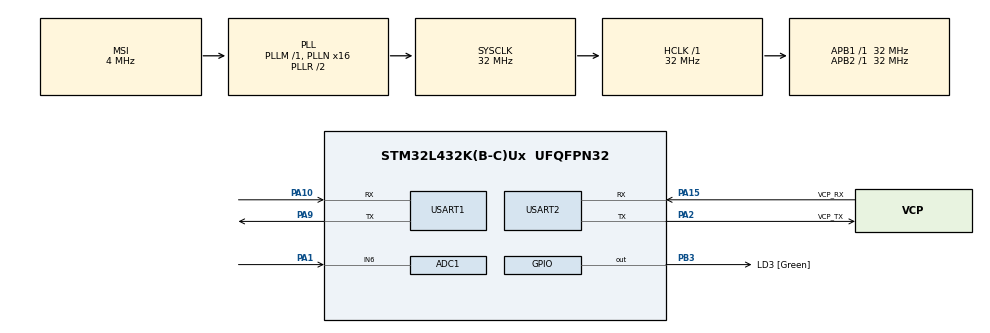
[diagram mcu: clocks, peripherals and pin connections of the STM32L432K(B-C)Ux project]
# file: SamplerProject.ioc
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ADC1.Channel-0\#ChannelRegularConversion=ADC_CHANNEL_6
ADC1.NbrOfConversionFlag=1
ADC1.OffsetNumber-0\#ChannelRegularConversion=ADC_OFFSET_NONE
ADC1.Rank-0\#ChannelRegularConversion=1
ADC1.Resolution=ADC_RESOLUTION_8B
ADC1.SamplingTime-0\#ChannelRegularConversion=ADC_SAMPLETIME_2CYCLES_5
ADC1.master=1
Mcu.Family=STM32L4
Mcu.Name=STM32L432K(B-C)Ux
Mcu.Package=UFQFPN32
NVIC.PriorityGroup=NVIC_PRIORITYGROUP_4
NVIC.TIM1_BRK_TIM15_IRQn=true\:0\:0\:false\:false\:true\:true\:true\:true
NVIC.TIM1_CC_IRQn=true\:0\:0\:false\:false\:true\:true\:true\:true
NVIC.TIM1_TRG_COM_IRQn=true\:0\:0\:false\:false\:true\:true\:true\:true
NVIC.TIM1_UP_TIM16_IRQn=true\:0\:0\:false\:false\:true\:true\:true\:true
NVIC.USART1_IRQn=true\:0\:0\:false\:false\:true\:true\:true\:true
PA0.GPIO_Label=MCO [High speed clock in]
PA0.Mode=HSE-External-Clock-Source-for-LittleOrca
PA0.Signal=RCC_CK_IN
PA1.Signal=ADCx_IN6
PA10.Mode=Asynchronous
PA10.Signal=USART1_RX
PA13\ (JTMS-SWDIO).GPIO_Label=SWDIO
PA13\ (JTMS-SWDIO).Mode=Serial_Wire
PA13\ (JTMS-SWDIO).Signal=SYS_JTMS-SWDIO
PA14\ (JTCK-SWCLK).GPIO_Label=SWCLK
PA14\ (JTCK-SWCLK).Mode=Serial_Wire
PA14\ (JTCK-SWCLK).Signal=SYS_JTCK-SWCLK
PA15\ (JTDI).GPIO_Label=VCP_RX
PA15\ (JTDI).Mode=Asynchronous
PA15\ (JTDI).Signal=USART2_RX
PA2.GPIO_Label=VCP_TX
PA2.Mode=Asynchronous
PA2.Signal=USART2_TX
PA9.Mode=Asynchronous
PA9.Signal=USART1_TX
PB3\ (JTDO-TRACESWO).GPIO_Label=LD3 [Green]
PB3\ (JTDO-TRACESWO).Signal=GPIO_Output
PC14-OSC32_IN\ (PC14).Mode=LSE-External-Oscillator
PC14-OSC32_IN\ (PC14).Signal=RCC_OSC32_IN
PC15-OSC32_OUT\ (PC15).Mode=LSE-External-Oscillator
PC15-OSC32_OUT\ (PC15).Signal=RCC_OSC32_OUT
ProjectManager.HeapSize=0x200
ProjectManager.StackSize=0x400
ProjectManager.TargetToolchain=STM32CubeIDE
RCC.ADCFreq_Value=32000000
RCC.AHBFreq_Value=32000000
RCC.APB1Freq_Value=32000000
RCC.APB1TimFreq_Value=32000000
RCC.APB2Freq_Value=32000000
RCC.APB2TimFreq_Value=32000000
RCC.CortexFreq_Value=32000000
RCC.HCLKFreq_Value=32000000
RCC.HSE_VALUE=8000000
RCC.HSI16_VALUE=16000000
RCC.HSI48_VALUE=48000000
RCC.HSI_VALUE=16000000
RCC.MSI_VALUE=4000000
RCC.PLLMUL=RCC_PLLMUL_4
RCC.PLLN=16
RCC.PLLSAI1N=16
RCC.SYSCLKFreq_VALUE=32000000
RCC.SYSCLKSource=RCC_SYSCLKSOURCE_PLLCLK
RCC.USBFreq_Value=32000000
RCC.VCOOutputFreq_Value=64000000
SH.ADCx_IN6.0=ADC1_IN6,IN6-Single-Ended
TIM1.Period=199
TIM1.Prescaler=63
USART1.VirtualMode-Asynchronous=VM_ASYNC
USART2.VirtualMode-Asynchronous=VM_ASYNC
VP_TIM1_VS_ClockSourceINT.Mode=Internal
board=NUCLEO-L432KC

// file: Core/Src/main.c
/* USER CODE BEGIN Header */
/**
  ******************************************************************************
  * @file           : main.c
  * @brief          : Main program body
  ******************************************************************************
  * @attention
  *
  * Copyright (c) 2025 STMicroelectronics.
  * All rights reserved.
  *
  * This software is licensed under terms that can be found in the LICENSE file
  * in the root directory of this software component.
  * If no LICENSE file comes with this software, it is provided AS-IS.
  *
  ******************************************************************************
  */
/* USER CODE END Header */
#include "main.h"

/* USER CODE BEGIN PD */
#define SAMPLE_RATE 5000
#define BUFFER_SIZE 1000
/* USER CODE END PD */

ADC_HandleTypeDef hadc1;

TIM_HandleTypeDef htim1;

UART_HandleTypeDef huart1;
UART_HandleTypeDef huart2;

/* USER CODE BEGIN PV */
uint8_t Buffer[BUFFER_SIZE];
uint16_t BuffIdx = 0;
/* USER CODE END PV */

void SystemClock_Config(void);
static void MX_GPIO_Init(void);
static void MX_USART2_UART_Init(void);
static void MX_ADC1_Init(void);
static void MX_TIM1_Init(void);
static void MX_USART1_UART_Init(void);

int main(void)
{

  /* MCU Configuration--------------------------------------------------------*/

  /* Reset of all peripherals, Initializes the Flash interface and the Systick. */
  HAL_Init();

  /* Configure the system clock */
  SystemClock_Config();

  /* Initialize all configured peripherals */
  MX_GPIO_Init();
  MX_USART2_UART_Init();
  MX_ADC1_Init();
  MX_TIM1_Init();
  MX_USART1_UART_Init();
  /* USER CODE BEGIN 2 */
  // reset counter, enable IRQ
  __HAL_TIM_SET_COUNTER(&htim1, 0);
  HAL_TIM_Base_Start_IT(&htim1);
  /* USER CODE END 2 */

  /* Infinite loop */
  while (1)
  {

  }
}

void SystemClock_Config(void)
{
  RCC_OscInitTypeDef RCC_OscInitStruct = {0};
  RCC_ClkInitTypeDef RCC_ClkInitStruct = {0};

  /** Configure the main internal regulator output voltage
  */
  if (HAL_PWREx_ControlVoltageScaling(PWR_REGULATOR_VOLTAGE_SCALE1) != HAL_OK)
  {
    Error_Handler();
  }

  /** Configure LSE Drive Capability
  */
  HAL_PWR_EnableBkUpAccess();
  __HAL_RCC_LSEDRIVE_CONFIG(RCC_LSEDRIVE_LOW);

  /** Initializes the RCC Oscillators according to the specified parameters
  * in the RCC_OscInitTypeDef structure.
  */
  RCC_OscInitStruct.OscillatorType = RCC_OSCILLATORTYPE_LSE|RCC_OSCILLATORTYPE_MSI;
  RCC_OscInitStruct.LSEState = RCC_LSE_ON;
  RCC_OscInitStruct.MSIState = RCC_MSI_ON;
  RCC_OscInitStruct.MSICalibrationValue = 0;
  RCC_OscInitStruct.MSIClockRange = RCC_MSIRANGE_6;
  RCC_OscInitStruct.PLL.PLLState = RCC_PLL_ON;
  RCC_OscInitStruct.PLL.PLLSource = RCC_PLLSOURCE_MSI;
  RCC_OscInitStruct.PLL.PLLM = 1;
  RCC_OscInitStruct.PLL.PLLN = 16;
  RCC_OscInitStruct.PLL.PLLP = RCC_PLLP_DIV7;
  RCC_OscInitStruct.PLL.PLLQ = RCC_PLLQ_DIV2;
  RCC_OscInitStruct.PLL.PLLR = RCC_PLLR_DIV2;
  if (HAL_RCC_OscConfig(&RCC_OscInitStruct) != HAL_OK)
  {
    Error_Handler();
  }

  /** Initializes the CPU, AHB and APB buses clocks
  */
  RCC_ClkInitStruct.ClockType = RCC_CLOCKTYPE_HCLK|RCC_CLOCKTYPE_SYSCLK
                              |RCC_CLOCKTYPE_PCLK1|RCC_CLOCKTYPE_PCLK2;
  RCC_ClkInitStruct.SYSCLKSource = RCC_SYSCLKSOURCE_PLLCLK;
  RCC_ClkInitStruct.AHBCLKDivider = RCC_SYSCLK_DIV1;
  RCC_ClkInitStruct.APB1CLKDivider = RCC_HCLK_DIV1;
  RCC_ClkInitStruct.APB2CLKDivider = RCC_HCLK_DIV1;

  if (HAL_RCC_ClockConfig(&RCC_ClkInitStruct, FLASH_LATENCY_1) != HAL_OK)
  {
    Error_Handler();
  }

  /** Enable MSI Auto calibration
  */
  HAL_RCCEx_EnableMSIPLLMode();
}

static void MX_ADC1_Init(void)
{

  ADC_ChannelConfTypeDef sConfig = {0};

  /** Common config
  */
  hadc1.Instance = ADC1;
  hadc1.Init.ClockPrescaler = ADC_CLOCK_ASYNC_DIV1;
  hadc1.Init.Resolution = ADC_RESOLUTION_8B;
  hadc1.Init.DataAlign = ADC_DATAALIGN_RIGHT;
  hadc1.Init.ScanConvMode = ADC_SCAN_DISABLE;
  hadc1.Init.EOCSelection = ADC_EOC_SINGLE_CONV;
  hadc1.Init.LowPowerAutoWait = DISABLE;
  hadc1.Init.ContinuousConvMode = DISABLE;
  hadc1.Init.NbrOfConversion = 1;
  hadc1.Init.DiscontinuousConvMode = DISABLE;
  hadc1.Init.ExternalTrigConv = ADC_SOFTWARE_START;
  hadc1.Init.ExternalTrigConvEdge = ADC_EXTERNALTRIGCONVEDGE_NONE;
  hadc1.Init.DMAContinuousRequests = DISABLE;
  hadc1.Init.Overrun = ADC_OVR_DATA_PRESERVED;
  hadc1.Init.OversamplingMode = DISABLE;
  if (HAL_ADC_Init(&hadc1) != HAL_OK)
  {
    Error_Handler();
  }

  /** Configure Regular Channel
  */
  sConfig.Channel = ADC_CHANNEL_6;
  sConfig.Rank = ADC_REGULAR_RANK_1;
  sConfig.SamplingTime = ADC_SAMPLETIME_2CYCLES_5;
  sConfig.SingleDiff = ADC_SINGLE_ENDED;
  sConfig.OffsetNumber = ADC_OFFSET_NONE;
  sConfig.Offset = 0;
  if (HAL_ADC_ConfigChannel(&hadc1, &sConfig) != HAL_OK)
  {
    Error_Handler();
  }

}

static void MX_TIM1_Init(void)
{

  TIM_ClockConfigTypeDef sClockSourceConfig = {0};
  TIM_MasterConfigTypeDef sMasterConfig = {0};

  htim1.Instance = TIM1;
  htim1.Init.Prescaler = 63;
  htim1.Init.CounterMode = TIM_COUNTERMODE_UP;
  htim1.Init.Period = 199;
  htim1.Init.ClockDivision = TIM_CLOCKDIVISION_DIV1;
  htim1.Init.RepetitionCounter = 0;
  htim1.Init.AutoReloadPreload = TIM_AUTORELOAD_PRELOAD_DISABLE;
  if (HAL_TIM_Base_Init(&htim1) != HAL_OK)
  {
    Error_Handler();
  }
  sClockSourceConfig.ClockSource = TIM_CLOCKSOURCE_INTERNAL;
  if (HAL_TIM_ConfigClockSource(&htim1, &sClockSourceConfig) != HAL_OK)
  {
    Error_Handler();
  }
  sMasterConfig.MasterOutputTrigger = TIM_TRGO_RESET;
  sMasterConfig.MasterOutputTrigger2 = TIM_TRGO2_RESET;
  sMasterConfig.MasterSlaveMode = TIM_MASTERSLAVEMODE_DISABLE;
  if (HAL_TIMEx_MasterConfigSynchronization(&htim1, &sMasterConfig) != HAL_OK)
  {
    Error_Handler();
  }

}

static void MX_USART1_UART_Init(void)
{

  huart1.Instance = USART1;
  huart1.Init.BaudRate = 115200;
  huart1.Init.WordLength = UART_WORDLENGTH_8B;
  huart1.Init.StopBits = UART_STOPBITS_1;
  huart1.Init.Parity = UART_PARITY_NONE;
  huart1.Init.Mode = UART_MODE_TX_RX;
  huart1.Init.HwFlowCtl = UART_HWCONTROL_NONE;
  huart1.Init.OverSampling = UART_OVERSAMPLING_16;
  huart1.Init.OneBitSampling = UART_ONE_BIT_SAMPLE_DISABLE;
  huart1.AdvancedInit.AdvFeatureInit = UART_ADVFEATURE_NO_INIT;
  if (HAL_UART_Init(&huart1) != HAL_OK)
  {
    Error_Handler();
  }

}

static void MX_USART2_UART_Init(void)
{

  huart2.Instance = USART2;
  huart2.Init.BaudRate = 115200;
  huart2.Init.WordLength = UART_WORDLENGTH_8B;
  huart2.Init.StopBits = UART_STOPBITS_1;
  huart2.Init.Parity = UART_PARITY_NONE;
  huart2.Init.Mode = UART_MODE_TX_RX;
  huart2.Init.HwFlowCtl = UART_HWCONTROL_NONE;
  huart2.Init.OverSampling = UART_OVERSAMPLING_16;
  huart2.Init.OneBitSampling = UART_ONE_BIT_SAMPLE_DISABLE;
  huart2.AdvancedInit.AdvFeatureInit = UART_ADVFEATURE_NO_INIT;
  if (HAL_UART_Init(&huart2) != HAL_OK)
  {
    Error_Handler();
  }

}

static void MX_GPIO_Init(void)
{
  GPIO_InitTypeDef GPIO_InitStruct = {0};

  /* GPIO Ports Clock Enable */
  __HAL_RCC_GPIOC_CLK_ENABLE();
  __HAL_RCC_GPIOA_CLK_ENABLE();
  __HAL_RCC_GPIOB_CLK_ENABLE();

  /*Configure GPIO pin Output Level */
  HAL_GPIO_WritePin(LD3_GPIO_Port, LD3_Pin, GPIO_PIN_RESET);

  /*Configure GPIO pin : LD3_Pin */
  GPIO_InitStruct.Pin = LD3_Pin;
  GPIO_InitStruct.Mode = GPIO_MODE_OUTPUT_PP;
  GPIO_InitStruct.Pull = GPIO_NOPULL;
  GPIO_InitStruct.Speed = GPIO_SPEED_FREQ_LOW;
  HAL_GPIO_Init(LD3_GPIO_Port, &GPIO_InitStruct);

}

/* USER CODE BEGIN 4 */
void HAL_TIM_PeriodElapsedCallback(TIM_HandleTypeDef *htim)
{
  if (htim->Instance == TIM1)
  {
    // 1) grab one 8-bit sample
    HAL_ADC_Start(&hadc1);
    if (HAL_ADC_PollForConversion(&hadc1, 10) == HAL_OK)
    {
      uint8_t sample = (uint8_t)HAL_ADC_GetValue(&hadc1);

      // 2) store in buffer
      Buffer[BuffIdx++] = sample;

      // 3) when buffer full, send block
      if (BuffIdx >= BUFFER_SIZE)
      {
        // non‑blocking transmit of the entire block
        HAL_UART_Transmit_IT(&huart1, Buffer, BUFFER_SIZE);
        BuffIdx = 0;
      }
    }
  }
}
/* USER CODE END 4 */

void Error_Handler(void)
{
  __disable_irq();
  while (1)
  {
  }
}
